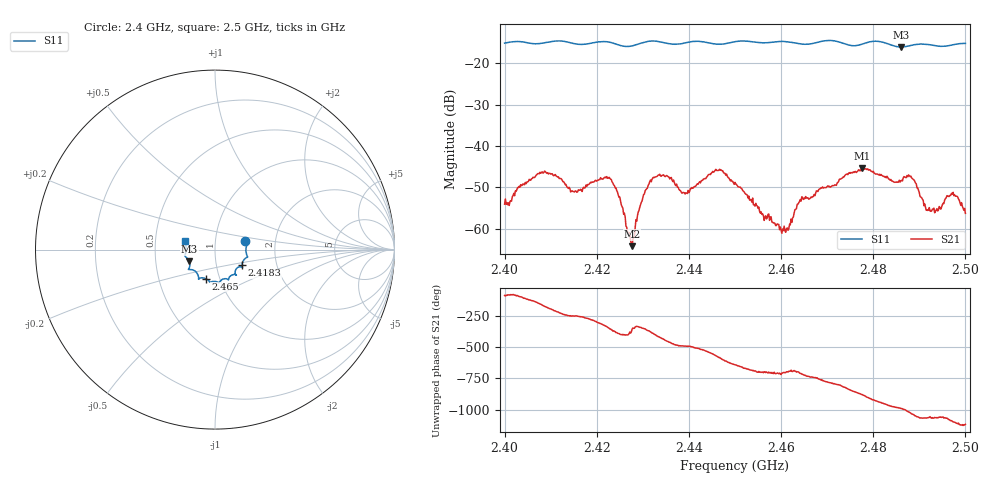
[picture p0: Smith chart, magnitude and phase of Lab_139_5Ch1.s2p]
# Hz S RI R 50
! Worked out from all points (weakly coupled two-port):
!   601 points, 2.4 GHz to 2.5 GHz, reference 50 ohm
!   highest |S21| = -45.43 dB at 2.4775 GHz (marker M1); lowest = -64.2 dB at 2.4277 GHz (marker M2)
!   lowest |S11| = -16.1 dB at 2.486 GHz (marker M3), VSWR 1.37, Z = 37.2 - j4.97 ohm
!   |S11| at or under -10 dB: start of sweep to end of sweep
!   S12 and S22 are empty: the file has one direction only
!   S11 on the Smith chart (normalised r, x): 2.4 GHz: 1.40, +0.13; 2.4183 GHz: 1.33, -0.24; 2.465 GHz: 0.86, -0.29; 2.5 GHz: 0.71, +0.07
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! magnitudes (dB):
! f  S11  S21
! 2.4 GHz  -15.1  -54.1
! 2.4082 GHz  -15.1  -46.2
! 2.4167 GHz  -15.4  -50.6
! 2.4183 GHz  -15.2  -49.2
! 2.4232 GHz  -15.0  -48.1
! 2.4247 GHz  -15.5  -51.9
! 2.4277 GHz  -15.8  -64.2
! 2.4303 GHz  -14.9  -51.6
! 2.4333 GHz  -14.7  -47.0
! 2.439 GHz  -15.1  -51.3
! 2.4462 GHz  -15.4  -45.9
! 2.45 GHz  -14.8  -48.8
! 2.4605 GHz  -14.7  -60.5
! 2.465 GHz  -15.4  -52.6
! 2.4667 GHz  -15.3  -52.5
! 2.4775 GHz  -15.4  -45.4
! 2.4833 GHz  -15.3  -48.0
! 2.486 GHz  -16.1  -48.4
! 2.4885 GHz  -15.6  -47.9
! 2.492 GHz  -15.5  -55.5
! 2.4972 GHz  -15.5  -51.6
! 2.5 GHz  -15.2  -56.3
